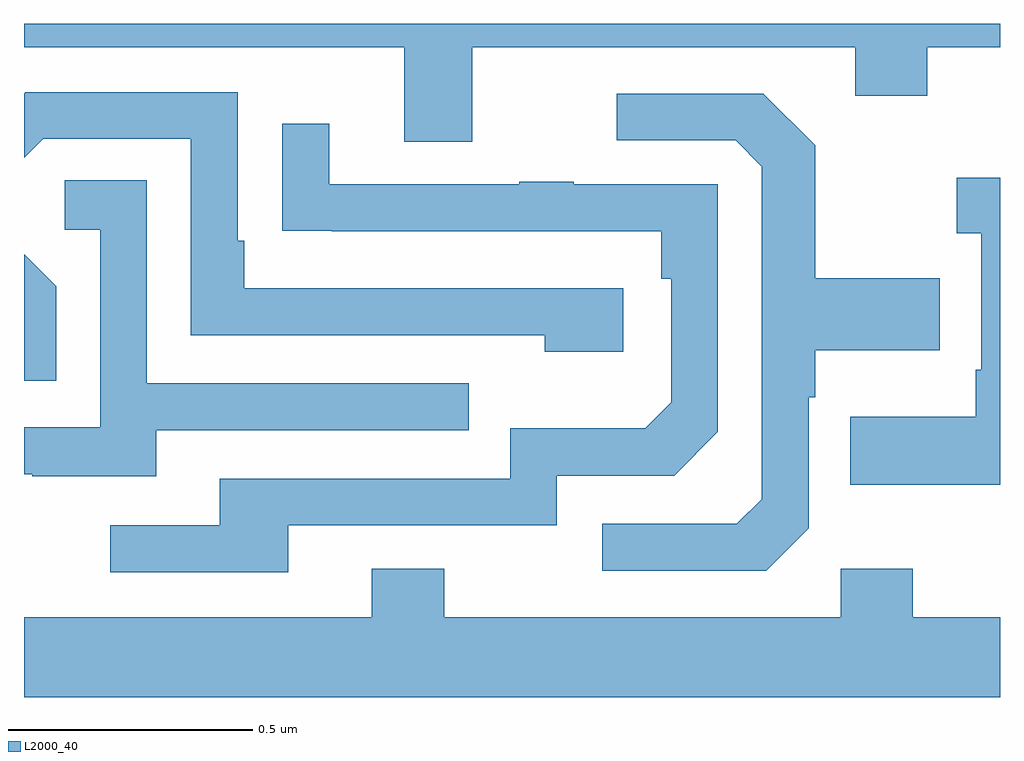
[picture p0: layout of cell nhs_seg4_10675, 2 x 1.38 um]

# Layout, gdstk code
import gdstk
lib = gdstk.Library(unit=1e-6, precision=1e-09)
def P(c, l, *ps):  # polygons
    for p in ps: c.add(gdstk.Polygon(p, *l))
L2000_40 = (2000, 40)

nhs_seg4_10675 = lib.new_cell('nhs_seg4_10675')
P(nhs_seg4_10675, L2000_40, [(243.919,764.852),(244.703,764.852),(244.703,764.753),(244.851,764.753),(244.851,764.852),(245,764.852),(245,764.9),(243,764.9),(243,764.852),(243.779,764.852),(243.779,764.658),(243.919,764.658)],
  [(244.228,764.358),(243.451,764.358),(243.451,764.455),(243.438,764.455),(243.438,764.76),(243.003,764.76),(243,764.757),(243,764.625),(243.039,764.664),(243.342,764.664),(243.342,764.262),(244.067,764.262),(244.067,764.228),(244.228,764.228)],
  [(244.608,763.866),(244.608,764.135),(244.621,764.135),(244.621,764.231),(244.877,764.231),(244.877,764.379),(244.621,764.379),(244.621,764.651),(244.515,764.757),(244.215,764.757),(244.215,764.661),(244.458,764.661),(244.512,764.607),(244.512,763.926),(244.461,763.875),(244.185,763.875),(244.185,763.779),(244.521,763.779)],
  [(243.541,763.872),(244.092,763.872),(244.092,763.974),(244.332,763.974),(244.422,764.064),(244.422,764.571),(244.127,764.571),(244.127,764.576),(244.015,764.576),(244.015,764.571),(243.625,764.571),(243.625,764.695),(243.529,764.695),(243.529,764.476),(243.631,764.476),(243.631,764.475),(244.306,764.475),(244.306,764.378),(244.326,764.378),(244.326,764.124),(244.273,764.071),(243.996,764.071),(243.996,763.968),(243.401,763.968),(243.401,763.872),(243.177,763.872),(243.177,763.776),(243.541,763.776)],
  [(245,764.584),(244.911,764.584),(244.911,764.471),(244.962,764.471),(244.962,764.191),(244.95,764.191),(244.95,764.095),(244.693,764.095),(244.693,763.955),(245,763.955)],
  [(243.271,764.067),(243.911,764.067),(243.911,764.163),(243.252,764.163),(243.252,764.579),(243.084,764.579),(243.084,764.478),(243.156,764.478),(243.156,764.073),(243,764.073),(243,763.977),(243.017,763.977),(243.017,763.973),(243.271,763.973)],
  [(243.066,764.362),(243,764.428),(243,764.169),(243.066,764.169)],
  [(245,763.684),(244.821,763.684),(244.821,763.783),(244.674,763.783),(244.674,763.684),(243.861,763.684),(243.861,763.783),(243.713,763.783),(243.713,763.684),(243,763.684),(243,763.52),(245,763.52)])

lib.write_gds('nhs_seg4_10675.gds')
